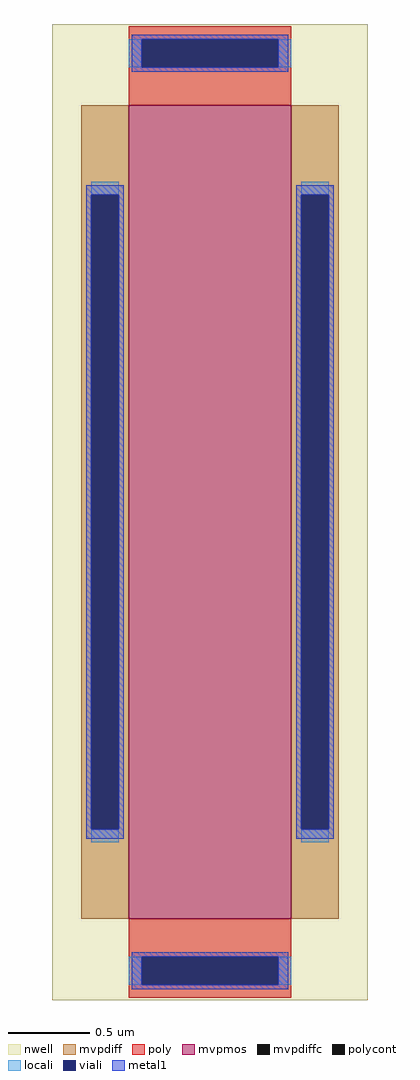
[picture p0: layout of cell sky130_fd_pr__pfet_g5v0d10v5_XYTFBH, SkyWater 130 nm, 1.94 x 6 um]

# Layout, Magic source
magic
tech sky130A
magscale 1 2
<< nwell >>
rect -194 -600 194 600
<< mvpmos >>
rect -100 -500 100 500
<< mvpdiff >>
rect -158 390 -100 500
rect -158 -390 -146 390
rect -112 -390 -100 390
rect -158 -500 -100 -390
rect 100 390 158 500
rect 100 -390 112 390
rect 146 -390 158 390
rect 100 -500 158 -390
<< mvpdiffc >>
rect -146 -390 -112 390
rect 112 -390 146 390
<< poly >>
rect -100 581 100 597
rect -100 547 -84 581
rect 84 547 100 581
rect -100 500 100 547
rect -100 -547 100 -500
rect -100 -581 -84 -547
rect 84 -581 100 -547
rect -100 -597 100 -581
<< polycont >>
rect -84 547 84 581
rect -84 -581 84 -547
<< locali >>
rect -100 547 -84 581
rect 84 547 100 581
rect -146 390 -112 406
rect -146 -406 -112 -390
rect 112 390 146 406
rect 112 -406 146 -390
rect -100 -581 -84 -547
rect 84 -581 100 -547
<< viali >>
rect -84 547 84 581
rect -146 -390 -112 390
rect 112 -390 146 390
rect -84 -581 84 -547
<< metal1 >>
rect -96 581 96 587
rect -96 547 -84 581
rect 84 547 96 581
rect -96 541 96 547
rect -152 390 -106 402
rect -152 -390 -146 390
rect -112 -390 -106 390
rect -152 -402 -106 -390
rect 106 390 152 402
rect 106 -390 112 390
rect 146 -390 152 390
rect 106 -402 152 -390
rect -96 -547 96 -541
rect -96 -581 -84 -547
rect 84 -581 96 -547
rect -96 -587 96 -581
<< properties >>
string gencell sky130_fd_pr__pfet_g5v0d10v5
string library sky130
string parameters w 5 l 1 m 1 nf 1 diffcov 80 polycov 100 guard 0 glc 0 grc 0 gtc 0 gbc 0 tbcov 100 rlcov 100 topc 1 botc 1 poverlap 0 doverlap 1 lmin 0.50 wmin 0.42 compatible {sky130_fd_pr__pfet_01v8  sky130_fd_pr__pfet_01v8_lvt sky130_fd_pr__pfet_01v8_hvt  sky130_fd_pr__pfet_g5v0d10v5} full_metal 0 viasrc 80 viadrn 80 viagate 100 viagb 0 viagr 0 viagl 0 viagt 0
<< end >>
